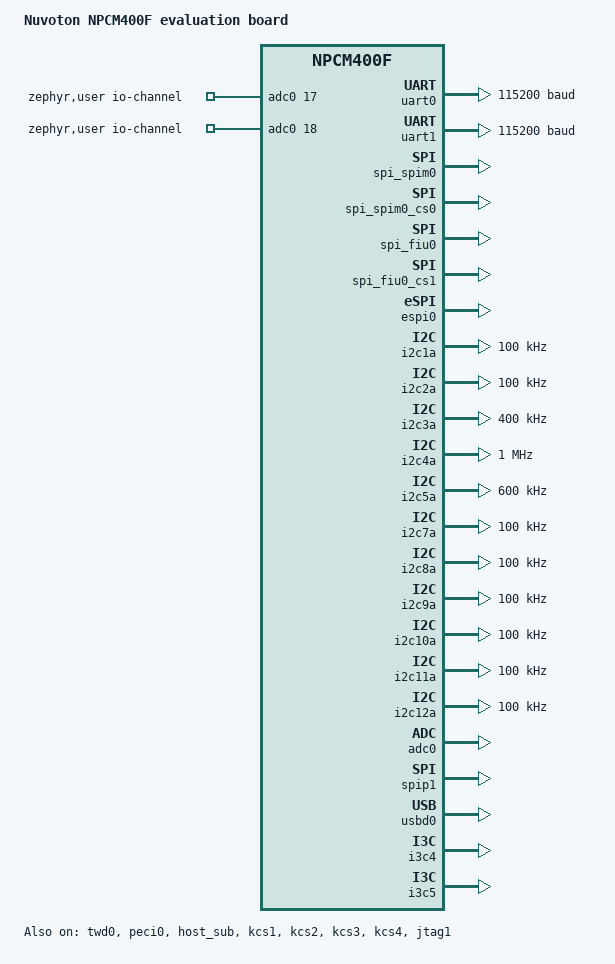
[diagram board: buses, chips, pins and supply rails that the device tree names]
/*
 * Copyright (c) 2021 Nuvoton Technology Corporation.
 *
 * SPDX-License-Identifier: Apache-2.0
 */

/dts-v1/;

#include <nuvoton/npcm400fm4.dtsi>
#include <dt-bindings/i2c/i2c.h>

/ {
	model = "Nuvoton NPCM400F evaluation board";

	chosen {
		zephyr,sram = &sram0;
		zephyr,flash = &flash0;
		zephyr,shell-uart = &uart0;
		zephyr,console = &uart0;
	};

	aliases {
		peci-0 = &peci0;
	};


	power-states {
		suspend_to_idle0: suspend-to-idle0 {
			compatible = "zephyr,power-state";
			power-state-name = "suspend-to-idle";
			substate-id = <0>;
			min-residency-us = <1000>;
		};

		suspend_to_idle1: suspend-to-idle1 {
			compatible = "zephyr,power-state";
			power-state-name = "suspend-to-idle";
			substate-id = <1>;
			min-residency-us = <201000>;
		};
	};

	zephyr,user {
		/* adjust channel number according to enum adc_channel_en in adc_npcm4xx.c */
		/* Because VIN16, THR16, TD2P is the same pin, it must only select one type.
		 * Because VIN15, THR15, TD0P is the same pin, it must only select one type.
		 * Because VIN14, THR14, TD1P is the same pin, it must only select one type.
		 * Because VIN1, THR1, TD3P is the same pin, it must only select one type.
		 * Because VIN2, THR2, TD4P is the same pin, it must only select one type.
		 * Exsample : if you select channel 6(VIN16),
		 *            and you can't select channel 7(THR16) and channel 19(TD2P).
		 */
		io-channels = <&adc0 17>, <&adc0 18>;
	};

};

&uart0 {
	status = "okay";
	current-speed = <115200>;
};

&uart1 {
	status = "okay";
	current-speed = <115200>;
};

&twd0 {
	status = "okay";
};

&peci0 {
	status = "okay";
	pinctrl-0 = <&pinctrl_peci0_default>;
};

&spi_spim0 {
	status = "okay";
};

&spi_spim0_cs0 {
	status = "okay";
};

&spi_fiu0 {
	status = "okay";
};

&spi_fiu0_cs1 {
	status = "okay";
};

&espi0 {
	status = "okay";
};

&host_sub {
	status = "okay";
};

&kcs1 {
	status = "okay";
};

&kcs2 {
	status = "okay";
};

&kcs3 {
	status = "okay";
};

&kcs4 {
	status = "okay";
};

/*
 * I2C supported bitrate:
 *   I2C_BITRATE_STANDARD: 100 Kbit/s
 *   I2C_BITRATE_FAST: 400 Kbit/s
 *   I2C_BITRATE_FAST_PLUS: 1 Mbit/s
 *   number: 100000, 200000, ... , 900000, 1000000
 */
&i2c1a {
	clock-frequency = <I2C_BITRATE_STANDARD>;
	status = "okay";
};

&i2c2a {
	clock-frequency = <I2C_BITRATE_STANDARD>;
	status = "okay";
};

&i2c3a {
	clock-frequency = <I2C_BITRATE_FAST>;
	status = "okay";
};

&i2c4a {
	clock-frequency = <I2C_BITRATE_FAST_PLUS>;
	status = "okay";
};

&i2c5a {
	clock-frequency = <600000>;
	status = "okay";
};

&i2c6a {
	clock-frequency = <200000>;
	status = "disabled";
};

&i2c7a {
	clock-frequency = <I2C_BITRATE_STANDARD>;
	status = "okay";
};

&i2c8a {
	clock-frequency = <I2C_BITRATE_STANDARD>;
	status = "okay";
};

&i2c9a {
	clock-frequency = <I2C_BITRATE_STANDARD>;
	status = "okay";
};

&i2c10a {
	clock-frequency = <I2C_BITRATE_STANDARD>;
	status = "okay";
};

&i2c11a {
	clock-frequency = <I2C_BITRATE_STANDARD>;
	status = "okay";
};

&i2c12a {
	clock-frequency = <I2C_BITRATE_STANDARD>;
	status = "okay";
};

&i2c1b {
	clock-frequency = <700000>;
	status = "disabled";
};

&i2c4b {
	clock-frequency = <I2C_BITRATE_STANDARD>;
	status = "disabled";
};

&i2c6b {
	clock-frequency = <I2C_BITRATE_STANDARD>;
	status = "disabled";
};

&adc0 {
	status = "okay";
	/* Pin D7 have three type VIN16, THR16, TD2P, so it must only select one type for pin.
	 * Pin C7 have three type VIN15, THR15, TD1P, so it must only select one type for pin.
	 * Pin A6 have three type VIN14, THR14, TD0P, so it must only select one type for pin.
	 * Pin B6 have three type VIN1, THR1, TD3P, so it must only select one type for pin.
	 * Pin C6 have three type VIN2, THR2, TD4P, so it must only select one type for pin.
	 */
	pinctrl-0 = <&pinctrl_vin7_default /* VIN7 - C8 */
		     &pinctrl_vin5_default  /* VIN5 - F7 */
		     &pinctrl_vin16_default /* VIN16 - D7 */
		     /* &pinctrl_thr16_default */ /* THR16 - D7 */
		     /* &pinctrl_td2p_default */ /* TD2P - D7 */
		     &pinctrl_vin15_default /* VIN15 - C7 */
		     /* &pinctrl_thr15_default */ /* THR15 - C7 */
		     /* &pinctrl_td1p_default */ /* TD1P - C7 */
		     &pinctrl_vin14_default /* VIN14 - A6 */
		     /* &pinctrl_thr14_default */ /* THR14 - A6 */
		     /* &pinctrl_td0p_default */ /* TD0P - A6 */
		     &pinctrl_vin1_default  /* VIN1 - B6 */
		     /* &pinctrl_thr1_default */ /* THR1 - B6 */
		     /* &pinctrl_td3p_default */ /* TD3P - B6 */
		     &pinctrl_vin2_default  /* VIN2 - C6 */
		     /* &pinctrl_thr2_default */ /* THR2 - C6 */
		     /* &pinctrl_td4p_default */ /* TD4P - C6 */
		     &pinctrl_vin3_default>; /* VIN3 - D6 */
};

&spip1 {
	status = "okay";
};

&usbd0 {
	status = "okay";
};

&jtag1 {
	tck-gpios = <&gpio0 0 (GPIO_PUSH_PULL | GPIO_ACTIVE_HIGH)>;
	tdi-gpios = <&gpio0 1 (GPIO_PUSH_PULL | GPIO_ACTIVE_HIGH)>;
	tdo-gpios = <&gpio0 2 (GPIO_ACTIVE_HIGH)>;
	tms-gpios = <&gpio0 3 (GPIO_PUSH_PULL | GPIO_ACTIVE_HIGH)>;
	status = "okay";
};

&i3c4 {
	status = "okay";
	assigned-address = <0x20>;
	i2c-scl-hz = <100000>;
	i3c-scl-hz = <12500000>;
	/* part-id = <0x1234>; */
	/* vendor-def-id = <0x567>; */
	bcr = <0x66>;
	dcr = <0xCC>;
	dma-tx-channel = <4>;
	dma-rx-channel = <10>;
	busno = <0x4>;
	pinctrl-0 = <&pinctrl_i3c4_default>;
};

&i3c5 {
	status = "okay";
	assigned-address = <0x21>;
	i2c-scl-hz = <100000>;
	i3c-scl-hz = <12500000>;
	/* part-id = <0x1234>; */
	/* vendor-def-id = <0x5607>; */
	bcr = <0x66>;
	dcr = <0xCC>;
	/* slave; */
	/* secondary; */
	dma-tx-channel = <5>;
	dma-rx-channel = <11>;
	busno = <0x5>;
	pinctrl-0 = <&pinctrl_i3c5_default>;

	/* #address-cells = <1>; */
	/* #size-cells = <0>; */

	/*
	 * i3c5_smq:i3c-slave-mqueue@21 {
	 *	compatible = "i3c-slave-mqueue";
	 *	reg = <0x21>;
	 *	msg-size = <256>;
	 *	num-of-msgs = <4>;
	 *	mandatory-data-byte = <0xae>;
	 *	label = "I3C_5_SMQ";
	 *	status = "okay";
	 * };
	 */
};

&sgpio0 {
	status = "disabled";
	sgpio0_0: sgpio0_0 {
		#gpio-cells = <2>;
		gpio-controller;
		ngpios = <8>;
		interrupt-controller;
		#interrupt-cells = <2>;
		label = "SGPIO0_0";
		pin-offset = <0>;
	};

	sgpio0_1: sgpio0_1 {
		#gpio-cells = <2>;
		gpio-controller;
		ngpios = <8>;
		interrupt-controller;
		#interrupt-cells = <2>;
		label = "SGPIO0_1";
		pin-offset = <8>;
	};

	sgpio0_2: sgpio0_2 {
		#gpio-cells = <2>;
		gpio-controller;
		ngpios = <8>;
		interrupt-controller;
		#interrupt-cells = <2>;
		label = "SGPIO0_2";
		pin-offset = <16>;
	};

	sgpio0_3: sgpio0_3 {
		#gpio-cells = <2>;
		gpio-controller;
		ngpios = <8>;
		interrupt-controller;
		#interrupt-cells = <2>;
		label = "SGPIO0_3";
		pin-offset = <24>;
	};

	sgpio0_4: sgpio0_4 {
		#gpio-cells = <2>;
		gpio-controller;
		ngpios = <8>;
		interrupt-controller;
		#interrupt-cells = <2>;
		label = "SGPIO0_4";
		pin-offset = <32>;
	};

	sgpio0_5: sgpio0_5 {
		#gpio-cells = <2>;
		gpio-controller;
		ngpios = <8>;
		interrupt-controller;
		#interrupt-cells = <2>;
		label = "SGPIO0_5";
		pin-offset = <40>;
	};

	sgpio0_6: sgpio0_6 {
		#gpio-cells = <2>;
		gpio-controller;
		ngpios = <8>;
		interrupt-controller;
		#interrupt-cells = <2>;
		label = "SGPIO0_6";
		pin-offset = <48>;
	};

	sgpio0_7: sgpio0_7 {
		#gpio-cells = <2>;
		gpio-controller;
		ngpios = <8>;
		interrupt-controller;
		#interrupt-cells = <2>;
		label = "SGPIO0_7";
		pin-offset = <56>;
	};

	sgpio0_8: sgpio0_8 {
		#gpio-cells = <2>;
		gpio-controller;
		ngpios = <8>;
		interrupt-controller;
		#interrupt-cells = <2>;
		label = "SGPIO0_8";
		pin-offset = <64>;
	};

	sgpio0_9: sgpio0_9 {
		#gpio-cells = <2>;
		gpio-controller;
		ngpios = <8>;
		interrupt-controller;
		#interrupt-cells = <2>;
		label = "SGPIO0_9";
		pin-offset = <72>;
	};

	sgpio0_a: sgpio0_a {
		#gpio-cells = <2>;
		gpio-controller;
		ngpios = <8>;
		interrupt-controller;
		#interrupt-cells = <2>;
		label = "SGPIO0_a";
		pin-offset = <80>;
	};

	sgpio0_b: sgpio0_b {
		#gpio-cells = <2>;
		gpio-controller;
		ngpios = <8>;
		interrupt-controller;
		#interrupt-cells = <2>;
		label = "SGPIO0_b";
		pin-offset = <88>;
	};

	sgpio0_c: sgpio0_c {
		#gpio-cells = <2>;
		gpio-controller;
		ngpios = <8>;
		interrupt-controller;
		#interrupt-cells = <2>;
		label = "SGPIO0_c";
		pin-offset = <96>;
	};

	sgpio0_d: sgpio0_d {
		#gpio-cells = <2>;
		gpio-controller;
		ngpios = <8>;
		interrupt-controller;
		#interrupt-cells = <2>;
		label = "SGPIO0_d";
		pin-offset = <104>;
	};

	sgpio0_e: sgpio0_e {
		#gpio-cells = <2>;
		gpio-controller;
		ngpios = <8>;
		interrupt-controller;
		#interrupt-cells = <2>;
		label = "SGPIO0_e";
		pin-offset = <112>;
	};

	sgpio0_f: sgpio0_f {
		#gpio-cells = <2>;
		gpio-controller;
		ngpios = <8>;
		interrupt-controller;
		#interrupt-cells = <2>;
		label = "SGPIO0_f";
		pin-offset = <120>;
	};
};

&sgpio1 {
	status = "disabled";
	sgpio1_0: sgpio1_0 {
		#gpio-cells = <2>;
		gpio-controller;
		ngpios = <8>;
		interrupt-controller;
		#interrupt-cells = <2>;
		label = "SGPIO1_0";
		pin-offset = <0>;
	};

	sgpio1_1: sgpio1_1 {
		#gpio-cells = <2>;
		gpio-controller;
		ngpios = <8>;
		interrupt-controller;
		#interrupt-cells = <2>;
		label = "SGPIO1_1";
		pin-offset = <8>;
	};

	sgpio1_2: sgpio1_2 {
		#gpio-cells = <2>;
		gpio-controller;
		ngpios = <8>;
		interrupt-controller;
		#interrupt-cells = <2>;
		label = "SGPIO1_2";
		pin-offset = <16>;
	};

	sgpio1_3: sgpio1_3 {
		#gpio-cells = <2>;
		gpio-controller;
		ngpios = <8>;
		interrupt-controller;
		#interrupt-cells = <2>;
		label = "SGPIO1_3";
		pin-offset = <24>;
	};

	sgpio1_4: sgpio1_4 {
		#gpio-cells = <2>;
		gpio-controller;
		ngpios = <8>;
		interrupt-controller;
		#interrupt-cells = <2>;
		label = "SGPIO1_4";
		pin-offset = <32>;
	};

	sgpio1_5: sgpio1_5 {
		#gpio-cells = <2>;
		gpio-controller;
		ngpios = <8>;
		interrupt-controller;
		#interrupt-cells = <2>;
		label = "SGPIO1_5";
		pin-offset = <40>;
	};

	sgpio1_6: sgpio1_6 {
		#gpio-cells = <2>;
		gpio-controller;
		ngpios = <8>;
		interrupt-controller;
		#interrupt-cells = <2>;
		label = "SGPIO1_6";
		pin-offset = <48>;
	};

	sgpio1_7: sgpio1_7 {
		#gpio-cells = <2>;
		gpio-controller;
		ngpios = <8>;
		interrupt-controller;
		#interrupt-cells = <2>;
		label = "SGPIO1_7";
		pin-offset = <56>;
	};

	sgpio1_8: sgpio1_8 {
		#gpio-cells = <2>;
		gpio-controller;
		ngpios = <8>;
		interrupt-controller;
		#interrupt-cells = <2>;
		label = "SGPIO1_8";
		pin-offset = <64>;
	};

	sgpio1_9: sgpio1_9 {
		#gpio-cells = <2>;
		gpio-controller;
		ngpios = <8>;
		interrupt-controller;
		#interrupt-cells = <2>;
		label = "SGPIO1_9";
		pin-offset = <72>;
	};

	sgpio1_a: sgpio1_a {
		#gpio-cells = <2>;
		gpio-controller;
		ngpios = <8>;
		interrupt-controller;
		#interrupt-cells = <2>;
		label = "SGPIO1_a";
		pin-offset = <80>;
	};

	sgpio1_b: sgpio1_b {
		#gpio-cells = <2>;
		gpio-controller;
		ngpios = <8>;
		interrupt-controller;
		#interrupt-cells = <2>;
		label = "SGPIO1_b";
		pin-offset = <88>;
	};

	sgpio1_c: sgpio1_c {
		#gpio-cells = <2>;
		gpio-controller;
		ngpios = <8>;
		interrupt-controller;
		#interrupt-cells = <2>;
		label = "SGPIO1_c";
		pin-offset = <96>;
	};

	sgpio1_d: sgpio1_d {
		#gpio-cells = <2>;
		gpio-controller;
		ngpios = <8>;
		interrupt-controller;
		#interrupt-cells = <2>;
		label = "SGPIO1_d";
		pin-offset = <104>;
	};

	sgpio1_e: sgpio1_e {
		#gpio-cells = <2>;
		gpio-controller;
		ngpios = <8>;
		interrupt-controller;
		#interrupt-cells = <2>;
		label = "SGPIO1_e";
		pin-offset = <112>;
	};

	sgpio1_f: sgpio1_f {
		#gpio-cells = <2>;
		gpio-controller;
		ngpios = <8>;
		interrupt-controller;
		#interrupt-cells = <2>;
		label = "SGPIO1_f";
		pin-offset = <120>;
	};
};
